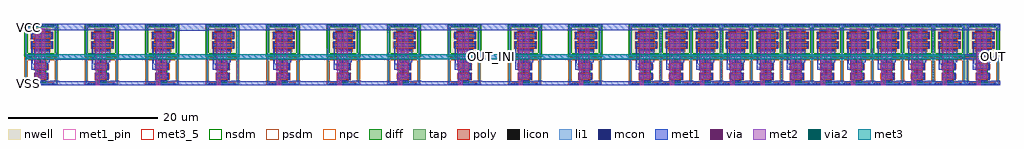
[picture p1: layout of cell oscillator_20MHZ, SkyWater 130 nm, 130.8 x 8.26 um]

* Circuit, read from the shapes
.subckt oscillator_20MHZ OUT OUT_INI VCC VSS
XM1 n1 VCC VSS VSS sky130_fd_pr__nfet_01v8 w=1 l=1
XM2 inverter_1/IN OUT_INI n1 VSS sky130_fd_pr__nfet_01v8 w=1 l=1
XM3 n2 VCC VSS VSS sky130_fd_pr__nfet_01v8 w=1 l=1
XM4 inverter_2/IN inverter_1/IN n2 VSS sky130_fd_pr__nfet_01v8 w=1 l=1
XM5 n3 VCC VSS VSS sky130_fd_pr__nfet_01v8 w=1 l=1
XM6 inverter_3/IN inverter_2/IN n3 VSS sky130_fd_pr__nfet_01v8 w=1 l=1
XM7 n4 VCC VSS VSS sky130_fd_pr__nfet_01v8 w=1 l=1
XM8 inverter_4/IN inverter_3/IN n4 VSS sky130_fd_pr__nfet_01v8 w=1 l=1
XM9 n5 VCC VSS VSS sky130_fd_pr__nfet_01v8 w=1 l=1
XM10 inverter_5/IN inverter_4/IN n5 VSS sky130_fd_pr__nfet_01v8 w=1 l=1
XM11 n6 VCC VSS VSS sky130_fd_pr__nfet_01v8 w=1 l=1
XM12 inverter_6/IN inverter_5/IN n6 VSS sky130_fd_pr__nfet_01v8 w=1 l=1
XM13 n7 VCC VSS VSS sky130_fd_pr__nfet_01v8 w=1 l=1
XM14 inverter_7/IN inverter_6/IN n7 VSS sky130_fd_pr__nfet_01v8 w=1 l=1
XM15 n8 VCC VSS VSS sky130_fd_pr__nfet_01v8 w=1 l=1
XM16 inverter_8/IN inverter_7/IN n8 VSS sky130_fd_pr__nfet_01v8 w=1 l=1
XM17 n9 VCC VSS VSS sky130_fd_pr__nfet_01v8 w=1 l=1
XM18 inverter_9/IN inverter_8/IN n9 VSS sky130_fd_pr__nfet_01v8 w=1 l=1
XM19 n10 VCC VSS VSS sky130_fd_pr__nfet_01v8 w=1 l=1
XM20 inverter_10/IN inverter_9/IN n10 VSS sky130_fd_pr__nfet_01v8 w=1 l=1
XM21 n11 VCC VSS VSS sky130_fd_pr__nfet_01v8 w=1 l=1
XM22 inverter_11/IN inverter_10/IN n11 VSS sky130_fd_pr__nfet_01v8 w=1 l=1
XM23 n12 VCC VSS VSS sky130_fd_pr__nfet_01v8 w=1 l=1
XM24 inverter_12/IN inverter_11/IN n12 VSS sky130_fd_pr__nfet_01v8 w=1 l=1
XM25 n13 VCC VSS VSS sky130_fd_pr__nfet_01v8 w=1 l=1
XM26 inverter_13/IN inverter_12/IN n13 VSS sky130_fd_pr__nfet_01v8 w=1 l=1
XM27 n14 VCC VSS VSS sky130_fd_pr__nfet_01v8 w=1 l=1
XM28 inverter_14/IN inverter_13/IN n14 VSS sky130_fd_pr__nfet_01v8 w=1 l=1
XM29 n15 VCC VSS VSS sky130_fd_pr__nfet_01v8 w=1 l=1
XM30 inverter_15/IN inverter_14/IN n15 VSS sky130_fd_pr__nfet_01v8 w=1 l=1
XM31 n16 VCC VSS VSS sky130_fd_pr__nfet_01v8 w=1 l=1
XM32 inverter_16/IN inverter_15/IN n16 VSS sky130_fd_pr__nfet_01v8 w=1 l=1
XM33 n17 VCC VSS VSS sky130_fd_pr__nfet_01v8 w=1 l=1
XM34 inverter_17/IN inverter_16/IN n17 VSS sky130_fd_pr__nfet_01v8 w=1 l=1
XM35 n18 VCC VSS VSS sky130_fd_pr__nfet_01v8 w=1 l=1
XM36 inverter_18/IN inverter_17/IN n18 VSS sky130_fd_pr__nfet_01v8 w=1 l=1
XM37 n19 VCC VSS VSS sky130_fd_pr__nfet_01v8 w=1 l=1
XM38 inverter_20/IN inverter_18/IN n19 VSS sky130_fd_pr__nfet_01v8 w=1 l=1
XM39 n20 VCC VSS VSS sky130_fd_pr__nfet_01v8 w=1 l=1
XM40 inverter_19/IN inverter_20/IN n20 VSS sky130_fd_pr__nfet_01v8 w=1 l=1
XM41 n21 VCC VSS VSS sky130_fd_pr__nfet_01v8 w=1 l=1
XM42 OUT_INI inverter_19/IN n21 VSS sky130_fd_pr__nfet_01v8 w=1 l=1
XM43 n22 VCC VSS VSS sky130_fd_pr__nfet_01v8 w=1 l=1
XM44 OUT OUT_INI n22 VSS sky130_fd_pr__nfet_01v8 w=1 l=1
XM45 n23 OUT_INI inverter_1/IN VCC sky130_fd_pr__pfet_01v8 w=2 l=1
XM46 VCC VSS n23 VCC sky130_fd_pr__pfet_01v8 w=2 l=1
XM47 n24 inverter_1/IN inverter_2/IN VCC sky130_fd_pr__pfet_01v8 w=2 l=1
XM48 VCC VSS n24 VCC sky130_fd_pr__pfet_01v8 w=2 l=1
XM49 n25 inverter_2/IN inverter_3/IN VCC sky130_fd_pr__pfet_01v8 w=2 l=1
XM50 VCC VSS n25 VCC sky130_fd_pr__pfet_01v8 w=2 l=1
XM51 n26 inverter_3/IN inverter_4/IN VCC sky130_fd_pr__pfet_01v8 w=2 l=1
XM52 VCC VSS n26 VCC sky130_fd_pr__pfet_01v8 w=2 l=1
XM53 n27 inverter_4/IN inverter_5/IN VCC sky130_fd_pr__pfet_01v8 w=2 l=1
XM54 VCC VSS n27 VCC sky130_fd_pr__pfet_01v8 w=2 l=1
XM55 n28 inverter_5/IN inverter_6/IN VCC sky130_fd_pr__pfet_01v8 w=2 l=1
XM56 VCC VSS n28 VCC sky130_fd_pr__pfet_01v8 w=2 l=1
XM57 n29 inverter_6/IN inverter_7/IN VCC sky130_fd_pr__pfet_01v8 w=2 l=1
XM58 VCC VSS n29 VCC sky130_fd_pr__pfet_01v8 w=2 l=1
XM59 n30 inverter_7/IN inverter_8/IN VCC sky130_fd_pr__pfet_01v8 w=2 l=1
XM60 VCC VSS n30 VCC sky130_fd_pr__pfet_01v8 w=2 l=1
XM61 n31 inverter_8/IN inverter_9/IN VCC sky130_fd_pr__pfet_01v8 w=2 l=1
XM62 VCC VSS n31 VCC sky130_fd_pr__pfet_01v8 w=2 l=1
XM63 n32 inverter_9/IN inverter_10/IN VCC sky130_fd_pr__pfet_01v8 w=2 l=1
XM64 VCC VSS n32 VCC sky130_fd_pr__pfet_01v8 w=2 l=1
XM65 n33 inverter_10/IN inverter_11/IN VCC sky130_fd_pr__pfet_01v8 w=2 l=1
XM66 VCC VSS n33 VCC sky130_fd_pr__pfet_01v8 w=2 l=1
XM67 n34 inverter_11/IN inverter_12/IN VCC sky130_fd_pr__pfet_01v8 w=2 l=1
XM68 VCC VSS n34 VCC sky130_fd_pr__pfet_01v8 w=2 l=1
XM69 n35 inverter_12/IN inverter_13/IN VCC sky130_fd_pr__pfet_01v8 w=2 l=1
XM70 VCC VSS n35 VCC sky130_fd_pr__pfet_01v8 w=2 l=1
XM71 n36 inverter_13/IN inverter_14/IN VCC sky130_fd_pr__pfet_01v8 w=2 l=1
XM72 VCC VSS n36 VCC sky130_fd_pr__pfet_01v8 w=2 l=1
XM73 n37 inverter_14/IN inverter_15/IN VCC sky130_fd_pr__pfet_01v8 w=2 l=1
XM74 VCC VSS n37 VCC sky130_fd_pr__pfet_01v8 w=2 l=1
XM75 n38 inverter_15/IN inverter_16/IN VCC sky130_fd_pr__pfet_01v8 w=2 l=1
XM76 VCC VSS n38 VCC sky130_fd_pr__pfet_01v8 w=2 l=1
XM77 n39 inverter_16/IN inverter_17/IN VCC sky130_fd_pr__pfet_01v8 w=2 l=1
XM78 VCC VSS n39 VCC sky130_fd_pr__pfet_01v8 w=2 l=1
XM79 n40 inverter_17/IN inverter_18/IN VCC sky130_fd_pr__pfet_01v8 w=2 l=1
XM80 VCC VSS n40 VCC sky130_fd_pr__pfet_01v8 w=2 l=1
XM81 n41 inverter_18/IN inverter_20/IN VCC sky130_fd_pr__pfet_01v8 w=2 l=1
XM82 VCC VSS n41 VCC sky130_fd_pr__pfet_01v8 w=2 l=1
XM83 n42 inverter_20/IN inverter_19/IN VCC sky130_fd_pr__pfet_01v8 w=2 l=1
XM84 VCC VSS n42 VCC sky130_fd_pr__pfet_01v8 w=2 l=1
XM85 n43 inverter_19/IN OUT_INI VCC sky130_fd_pr__pfet_01v8 w=2 l=1
XM86 VCC VSS n43 VCC sky130_fd_pr__pfet_01v8 w=2 l=1
XM87 n44 OUT_INI OUT VCC sky130_fd_pr__pfet_01v8 w=2 l=1
XM88 VCC VSS n44 VCC sky130_fd_pr__pfet_01v8 w=2 l=1
.ends

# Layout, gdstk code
from math import pi, radians
import gdstk
lib = gdstk.Library(unit=1e-6, precision=1e-09)
def R(c, l, rs):  # rectangles x0, y0, x1, y1
    for r in rs: c.add(gdstk.rectangle(r[:2], r[2:], *l))
def A(c, l, x, y, w, h, nx, ny, dx, dy):  # array of equal rectangles
    R(c, l, [(x+i*dx, y+j*dy, x+i*dx+w, y+j*dy+h) for i in range(nx) for j in range(ny)])
nwell = (64, 20)
diff = (65, 20)
tap = (65, 44)
poly = (66, 20)
licon = (66, 44)
li1 = (67, 20)
mcon = (67, 44)
met1_pin = (68, 16)
met1 = (68, 20)
via = (68, 44)
met2 = (69, 20)
via2 = (69, 44)
met3_5 = (70, 5)
met3 = (70, 20)
nsdm = (93, 44)
psdm = (94, 20)
npc = (95, 20)

sky130_fd_pr__pfet_01v8_ = lib.new_cell('sky130_fd_pr__pfet_01v8_BPT9FA')
R(sky130_fd_pr__pfet_01v8_, nwell, [(-0.97,-1.5,0.97,1.5)])
R(sky130_fd_pr__pfet_01v8_, diff, [(-0.79,-1,0.79,1)])
R(sky130_fd_pr__pfet_01v8_, poly, [(-0.5,-1.485,0.5,1.485)])
A(sky130_fd_pr__pfet_01v8_, licon, -0.73, -0.935, 0.17, 0.17, 1, 6, 0, 0.34)
A(sky130_fd_pr__pfet_01v8_, licon, 0.56, -0.935, 0.17, 0.17, 1, 6, 0, 0.34)
R(sky130_fd_pr__pfet_01v8_, licon, [(-0.255,-1.405,-0.085,-1.235), (0.085,-1.405,0.255,-1.235), (-0.255,1.235,-0.085,1.405), (0.085,1.235,0.255,1.405)])
R(sky130_fd_pr__pfet_01v8_, li1, [(-0.5,-1.405,0.5,-1.235), (-0.73,-1.02,-0.56,1.02), (0.56,-1.02,0.73,1.02), (-0.5,1.235,0.5,1.405)])
A(sky130_fd_pr__pfet_01v8_, mcon, -0.73, -0.805, 0.17, 0.17, 1, 5, 0, 0.36)
A(sky130_fd_pr__pfet_01v8_, mcon, 0.56, -0.805, 0.17, 0.17, 1, 5, 0, 0.36)
R(sky130_fd_pr__pfet_01v8_, mcon, [(-0.265,-1.405,-0.095,-1.235), (0.095,-1.405,0.265,-1.235), (-0.265,1.235,-0.095,1.405), (0.095,1.235,0.265,1.405)])
R(sky130_fd_pr__pfet_01v8_, met1, [(-0.48,-1.435,0.48,-1.205), (-0.76,-1,-0.53,1), (0.53,-1,0.76,1), (-0.48,1.205,0.48,1.435)])
R(sky130_fd_pr__pfet_01v8_, psdm, [(-0.915,-1.125,0.915,1.125)])
R(sky130_fd_pr__pfet_01v8_, npc, [(-0.355,-1.505,0.355,-1.135), (-0.355,1.135,0.355,1.505)])

sky130_fd_pr__nfet_01v8_ = lib.new_cell('sky130_fd_pr__nfet_01v8_EEHCG5')
R(sky130_fd_pr__nfet_01v8_, diff, [(-0.79,-0.5,0.79,0.5)])
R(sky130_fd_pr__nfet_01v8_, poly, [(-0.5,-0.94,0.5,0.94)])
A(sky130_fd_pr__nfet_01v8_, licon, -0.73, -0.425, 0.17, 0.17, 1, 3, 0, 0.34)
A(sky130_fd_pr__nfet_01v8_, licon, 0.56, -0.425, 0.17, 0.17, 1, 3, 0, 0.34)
R(sky130_fd_pr__nfet_01v8_, licon, [(-0.255,-0.86,-0.085,-0.69), (0.085,-0.86,0.255,-0.69), (-0.255,0.69,-0.085,0.86), (0.085,0.69,0.255,0.86)])
R(sky130_fd_pr__nfet_01v8_, li1, [(-0.5,-0.86,0.5,-0.69), (-0.73,-0.52,-0.56,0.52), (0.56,-0.52,0.73,0.52), (-0.5,0.69,0.5,0.86)])
R(sky130_fd_pr__nfet_01v8_, mcon, [(-0.265,-0.86,-0.095,-0.69), (0.095,-0.86,0.265,-0.69), (-0.73,-0.265,-0.56,-0.095), (0.56,-0.265,0.73,-0.095), (-0.73,0.095,-0.56,0.265), (0.56,0.095,0.73,0.265), (-0.265,0.69,-0.095,0.86), (0.095,0.69,0.265,0.86)])
R(sky130_fd_pr__nfet_01v8_, met1, [(-0.48,-0.89,0.48,-0.66), (-0.76,-0.5,-0.53,0.5), (0.53,-0.5,0.76,0.5), (-0.48,0.66,0.48,0.89)])
R(sky130_fd_pr__nfet_01v8_, nsdm, [(-0.915,-0.625,0.915,0.625)])
R(sky130_fd_pr__nfet_01v8_, npc, [(-0.355,-0.96,0.355,-0.59), (-0.355,0.59,0.355,0.96)])

inverter = lib.new_cell('inverter')
R(inverter, nwell, [(4.51,12.12,9.14,16.57)])
R(inverter, tap, [(4.69,8.45,5.96,8.62), (7.77,8.45,8.92,8.62), (4.69,8.62,4.86,11.78), (8.75,8.62,8.92,11.78), (4.69,11.78,6.08,11.95), (7.63,11.78,8.92,11.95), (4.69,12.3,8.96,12.47), (4.69,12.47,4.86,16.22), (8.75,12.47,8.96,16.22), (4.69,16.22,8.96,16.39)])
A(inverter, licon, 4.69, 8.96, 0.17, 0.17, 1, 8, 0, 0.34)
A(inverter, licon, 5.04, 12.3, 0.17, 0.17, 11, 1, 0.34, 0)
A(inverter, licon, 4.69, 12.76, 0.17, 0.17, 1, 10, 0, 0.34)
A(inverter, licon, 5.12, 16.22, 0.17, 0.17, 10, 1, 0.34, 0)
R(inverter, licon, [(5.13,8.45,5.3,8.62), (5.47,8.45,5.64,8.62), (8.055,8.45,8.225,8.62), (8.395,8.45,8.565,8.62), (5.265,11.78,5.435,11.95), (8.195,11.78,8.365,11.95)])
R(inverter, li1, [(4.86,8.44,5.97,8.45), (4.69,8.45,8.96,8.62), (4.69,8.62,4.87,11.78), (8.75,8.62,8.96,11.78), (4.69,11.78,8.96,11.95), (4.69,12.3,8.96,12.41), (4.68,12.41,8.96,12.47), (4.68,12.47,4.86,13.21), (8.75,12.47,8.96,16.22), (4.69,13.21,4.86,16.22), (4.69,16.22,8.96,16.4)])
A(inverter, mcon, 4.97, 8.445, 0.17, 0.17, 3, 1, 0.36, 0)
A(inverter, mcon, 5.12, 16.225, 0.17, 0.17, 10, 1, 0.36, 0)
R(inverter, mcon, [(8.315,8.45,8.485,8.62)])
R(inverter, met1_pin, [(4.51,8.34,4.86,8.88), (4.73,11.78,5.58,12.47), (5.9,11.78,8.79,12.47), (4.51,15.67,4.99,16.57)])
R(inverter, met1, [(4.51,8.34,9.14,8.88), (7.88,8.88,9.14,8.89), (8,8.89,9.14,8.9), (5.98,9.26,7.71,9.78), (5.51,10.39,6.16,10.53), (5.51,10.53,7.72,11.05), (5.51,11.05,6.16,11.23), (5.51,11.23,5.68,11.78), (5.9,11.44,7.94,11.78), (4.73,11.78,5.68,12.47), (5.9,11.78,8.97,12.47), (5.51,12.47,5.68,13.46), (5.9,12.47,7.94,13.16), (8.35,12.47,8.97,12.48), (5.51,13.46,8.32,13.98), (5.51,13.98,5.68,14.13), (5.66,14.79,8.32,15.31), (6.89,15.59,7.34,15.67), (4.51,15.67,8.75,16.09), (8.93,15.67,9.14,16.09), (4.51,16.09,9.14,16.57)])
R(inverter, via, [(6.21,8.54,6.36,8.69), (7.035,9.445,7.185,9.595), (6.225,14.975,6.375,15.125), (7.04,15.65,7.19,15.8)])
R(inverter, met2, [(6.01,8.36,6.58,15.35), (6.82,9.2,7.39,15.9)])
R(inverter, nsdm, [(4.565,12.175,9.085,12.595), (4.565,12.595,4.985,16.095), (8.625,12.595,9.085,16.095), (4.565,16.095,9.085,16.515)])
R(inverter, psdm, [(4.565,8.325,6.085,8.745), (7.645,8.325,9.045,8.745), (4.565,8.745,4.985,11.655), (8.625,8.745,9.045,11.655), (4.565,11.655,6.205,12.075), (7.505,11.655,9.045,12.075)])
inverter.add(gdstk.Reference(sky130_fd_pr__pfet_01v8_, (6.92,15), rotation=pi/2))
inverter.add(gdstk.Reference(sky130_fd_pr__pfet_01v8_, (6.92,13.71), rotation=pi/2))
inverter.add(gdstk.Reference(sky130_fd_pr__nfet_01v8_, (6.85,9.52), rotation=pi/2))
inverter.add(gdstk.Reference(sky130_fd_pr__nfet_01v8_, (6.85,10.81), rotation=pi/2))
inverter.add(gdstk.Label('IN', (5.155,12.125), layer=68, texttype=5))
inverter.add(gdstk.Label('OUT', (7.345,12.125), layer=68, texttype=5))
inverter.add(gdstk.Label('VCC', (4.75,16.12), layer=68, texttype=5))
inverter.add(gdstk.Label('VSS', (4.685,8.61), layer=68, texttype=5))

oscillator_20mhz = lib.new_cell('oscillator_20MHZ')
R(oscillator_20mhz, tap, [(125.85,0.1,126.515,3.605), (125.93,3.955,126.49,8.045)])
R(oscillator_20mhz, met1_pin, [(0,0,1.16,0.53), (129.445,3.29,130.445,4.29), (0.005,7.325,1.13,8.23)])
R(oscillator_20mhz, met1, [(4.41,-0.01,8.57,0.54), (20.21,-0.01,25.11,0.53), (28.4,-0.01,40.6,-0.005), (53.04,-0.01,56.93,0.53), (28.35,-0.005,40.6,0.54), (44.55,-0.005,48.81,0.54), (60.75,-0.005,64.93,0.54), (68.85,-0.005,73.11,0.54), (76.95,-0.005,81.05,0.54), (0,0,1.16,0.53), (12.47,0,16.72,0.54), (129.445,3.29,130.445,4.29), (4.18,3.43,8.68,4.13), (12.39,3.43,16.66,4.13), (36.51,3.43,41.01,4.13), (44.62,3.43,49.04,4.13), (69.05,3.43,73.4,4.13), (77.04,3.43,81.73,4.13), (28.25,3.44,33.06,4.13), (52.74,3.44,57.18,4.13), (60.99,3.44,65.24,4.13), (125.765,3.44,126.875,3.495), (20.45,3.45,25.09,4.12), (125.18,3.495,126.875,4.08), (0.28,3.52,1.045,4.07), (125.765,4.08,126.875,4.13), (20.62,7.31,24.57,8.23), (4.45,7.32,9.25,8.23), (12.65,7.32,16.81,8.23), (28.4,7.32,29.05,7.33), (36.9,7.32,40.86,8.23), (44.6,7.32,48.82,8.23), (52.7,7.32,57.29,8.23), (77.09,7.32,81.56,8.23), (0.005,7.325,1.13,8.23), (125.57,7.325,126.53,8.025), (28.4,7.33,32.53,7.84), (60.94,7.33,65.17,8.23), (68.96,7.33,73.29,8.23), (130.125,7.33,130.665,7.91), (28.66,7.84,32.53,8.23)])
R(oscillator_20mhz, via, [(125.33,3.55,125.48,3.7), (125.65,3.55,125.8,3.7), (0.425,3.72,0.575,3.87), (0.745,3.72,0.895,3.87), (125.33,3.87,125.48,4.02), (125.65,3.87,125.8,4.02)])
R(oscillator_20mhz, met2, [(0.225,3.44,1.145,4.14), (125.07,3.44,126.03,4.14)])
R(oscillator_20mhz, via2, [(125.265,3.685,125.465,3.885), (125.665,3.685,125.865,3.885), (0.36,3.695,0.56,3.895), (0.76,3.695,0.96,3.895)])
R(oscillator_20mhz, met3_5, [(0.225,3.44,125.18,4.135)])
R(oscillator_20mhz, met3, [(0.225,3.44,126.065,4.135)])
R(oscillator_20mhz, nsdm, [(125.805,3.83,126.615,8.17)])
R(oscillator_20mhz, psdm, [(125.725,-0.025,126.64,3.73)])
oscillator_20mhz.add(gdstk.Reference(inverter, (-4.51,-8.345)))
oscillator_20mhz.add(gdstk.Reference(inverter, (3.59,-8.345)))
oscillator_20mhz.add(gdstk.Reference(inverter, (11.69,-8.345)))
oscillator_20mhz.add(gdstk.Reference(inverter, (19.79,-8.345)))
oscillator_20mhz.add(gdstk.Reference(inverter, (27.89,-8.345)))
oscillator_20mhz.add(gdstk.Reference(inverter, (35.99,-8.345)))
oscillator_20mhz.add(gdstk.Reference(inverter, (44.09,-8.345)))
oscillator_20mhz.add(gdstk.Reference(inverter, (52.19,-8.345)))
oscillator_20mhz.add(gdstk.Reference(inverter, (60.29,-8.345)))
oscillator_20mhz.add(gdstk.Reference(inverter, (68.39,-8.345)))
oscillator_20mhz.add(gdstk.Reference(inverter, (76.49,-8.345)))
oscillator_20mhz.add(gdstk.Reference(inverter, (80.54,-8.345)))
oscillator_20mhz.add(gdstk.Reference(inverter, (84.59,-8.345)))
oscillator_20mhz.add(gdstk.Reference(inverter, (88.64,-8.345)))
oscillator_20mhz.add(gdstk.Reference(inverter, (92.69,-8.345)))
oscillator_20mhz.add(gdstk.Reference(inverter, (96.74,-8.345)))
oscillator_20mhz.add(gdstk.Reference(inverter, (100.79,-8.345)))
oscillator_20mhz.add(gdstk.Reference(inverter, (104.84,-8.345)))
oscillator_20mhz.add(gdstk.Reference(inverter, (108.89,-8.345)))
oscillator_20mhz.add(gdstk.Reference(inverter, (117.1,-8.345)))
oscillator_20mhz.add(gdstk.Reference(inverter, (112.975,-8.345)))
oscillator_20mhz.add(gdstk.Reference(inverter, (121.655,-8.345)))
oscillator_20mhz.add(gdstk.Label('OUT_INI', (62.702,3.787), layer=70, texttype=5))
oscillator_20mhz.add(gdstk.Label('OUT', (129.945,3.79), layer=68, texttype=5))
oscillator_20mhz.add(gdstk.Label('VCC', (0.567,7.777), layer=68, texttype=5))
oscillator_20mhz.add(gdstk.Label('VSS', (0.58,0.265), layer=68, texttype=5))

lib.write_gds('oscillator_20MHZ.gds')
